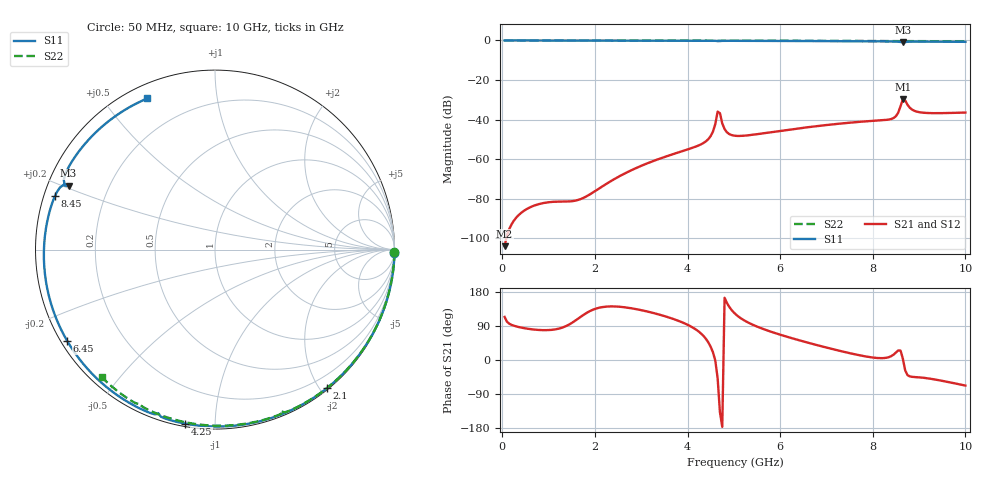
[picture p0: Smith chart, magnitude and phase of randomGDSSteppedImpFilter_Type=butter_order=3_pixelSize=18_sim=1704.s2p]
! freq	dB(S11)	phase(S11)	dB(S12)	phase(S12)
!  dB(S21)	phase(S21)	dB(S22)	phase(S22)
!S-par simulation data
#  GHz  S  DB  R 50
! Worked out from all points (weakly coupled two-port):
!   200 points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, 50 MHz to 10 GHz, reference 50 ohm
!   highest |S21| = -29.70 dB at 8.65 GHz (marker M1); lowest = -104.0 dB at 50 MHz (marker M2)
!   lowest |S11| = -1.0 dB at 8.65 GHz (marker M3), VSWR 17.15, Z = 3.04 + j10.4 ohm
!   |S11| at or under -10 dB: nowhere
!   |S22| runs from -0.4 to 0.0 dB; largest |S21 - S12| = 0
!   S11 on the Smith chart (normalised r, x): 50 MHz: 0, -92; 2.1 GHz: 0.02, -2.10; 4.25 GHz: 0.01, -0.84; 6.45 GHz: 0.02, -0.28; 8.45 GHz: 0.03, +0.16; 10 GHz: 0.06, +0.65
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0.05  -0.00 -1.2  -104.02 113.7  -104.02 113.7  -0.00 -0.8
1.75  -0.05 -42.7  -79.64 118.8  -79.64 118.8  -0.03 -26.3
2.1  -0.07 -50.9  -74.71 138.2  -74.71 138.2  -0.04 -31.4
3.4  -0.11 -80.8  -59.77 119.5  -59.77 119.5  -0.07 -50.0
4.25  -0.14 -99.8  -52.98 74.2  -52.98 74.2  -0.09 -61.8
4.5  -0.16 -105.4  -48.33 34.9  -48.33 34.9  -0.10 -65.3
4.6  -0.19 -107.9  -42.22 -1.8  -42.22 -1.8  -0.12 -66.9
4.65  -0.31 -109.2  -36.00 -48.1  -36.00 -48.1  -0.22 -67.6
4.7  -0.28 -108.9  -36.78 -138.0  -36.78 -138.0  -0.20 -67.2
4.75  -0.20 -110.2  -41.97 -176.4  -41.97 -176.4  -0.13 -68.0
4.85  -0.18 -112.6  -46.41 150.7  -46.41 150.7  -0.11 -69.5
5.05  -0.19 -117.1  -48.25 119.6  -48.25 119.6  -0.11 -72.3
6.45  -0.28 -148.2  -44.31 50.7  -44.31 50.7  -0.17 -90.1
6.7  -0.30 -154.0  -43.58 42.4  -43.58 42.4  -0.18 -93.2
7.55  -0.39 -174.3  -41.48 16.7  -41.48 16.7  -0.23 -103.4
8.35  -0.50 164.5  -39.97 7.6  -39.97 7.6  -0.30 -112.9
8.45  -0.54 161.5  -39.23 14.2  -39.23 14.2  -0.31 -114.1
8.55  -0.62 158.2  -36.47 25.3  -36.47 25.3  -0.34 -115.3
8.65  -1.01 156.4  -29.70 3.3  -29.70 3.3  -0.40 -116.1
8.85  -0.58 151.8  -34.99 -44.4  -34.99 -44.4  -0.33 -118.3
9  -0.58 147.0  -36.26 -45.7  -36.26 -45.7  -0.34 -120.1
10  -0.70 114.1  -36.46 -67.5  -36.46 -67.5  -0.44 -131.5
